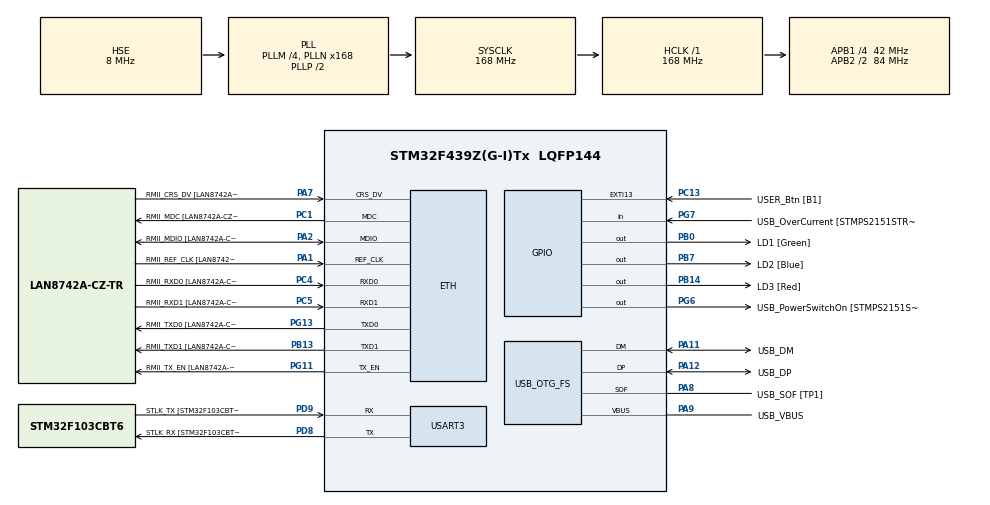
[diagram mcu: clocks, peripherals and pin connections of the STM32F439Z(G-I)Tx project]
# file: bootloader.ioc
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ETH.MediaInterface=HAL_ETH_RMII_MODE
ETH.PHY_Name=LAN8742A_PHY_ADDRESS
ETH.PHY_Value=0
ETH.PhyAddress=0
Mcu.Family=STM32F4
Mcu.Name=STM32F439Z(G-I)Tx
Mcu.Package=LQFP144
NVIC.PriorityGroup=NVIC_PRIORITYGROUP_4
PA1.GPIO_Label=RMII_REF_CLK [LAN8742A-CZ-TR_REFCLK0]
PA1.Mode=RMII
PA1.Signal=ETH_REF_CLK
PA10.GPIO_Label=USB_ID
PA10.Signal=USB_OTG_FS_ID
PA11.GPIO_Label=USB_DM
PA11.Mode=Device_Only
PA11.Signal=USB_OTG_FS_DM
PA12.GPIO_Label=USB_DP
PA12.Mode=Device_Only
PA12.Signal=USB_OTG_FS_DP
PA13.GPIO_Label=TMS
PA13.Mode=Serial_Wire
PA13.Signal=SYS_JTMS-SWDIO
PA14.GPIO_Label=TCK
PA14.Mode=Serial_Wire
PA14.Signal=SYS_JTCK-SWCLK
PA2.GPIO_Label=RMII_MDIO [LAN8742A-CZ-TR_MDIO]
PA2.Mode=RMII
PA2.Signal=ETH_MDIO
PA7.GPIO_Label=RMII_CRS_DV [LAN8742A-CZ-TR_CRS_DV]
PA7.Mode=RMII
PA7.Signal=ETH_CRS_DV
PA8.GPIO_Label=USB_SOF [TP1]
PA8.Mode=Activate_SOF_FS
PA8.Signal=USB_OTG_FS_SOF
PA9.GPIO_Label=USB_VBUS
PA9.Mode=Activate_VBUS
PA9.Signal=USB_OTG_FS_VBUS
PB0.GPIO_Label=LD1 [Green]
PB0.Signal=GPIO_Output
PB13.GPIO_Label=RMII_TXD1 [LAN8742A-CZ-TR_TXD1]
PB13.Mode=RMII
PB13.Signal=ETH_TXD1
PB14.GPIO_Label=LD3 [Red]
PB14.Signal=GPIO_Output
PB7.GPIO_Label=LD2 [Blue]
PB7.Signal=GPIO_Output
PC1.GPIO_Label=RMII_MDC [LAN8742A-CZ-TR_MDC]
PC1.Mode=RMII
PC1.Signal=ETH_MDC
PC13.GPIO_Label=USER_Btn [B1]
PC13.Signal=GPXTI13
PC14/OSC32_IN.Mode=LSE-External-Oscillator
PC14/OSC32_IN.Signal=RCC_OSC32_IN
PC15/OSC32_OUT.Mode=LSE-External-Oscillator
PC15/OSC32_OUT.Signal=RCC_OSC32_OUT
PC4.GPIO_Label=RMII_RXD0 [LAN8742A-CZ-TR_RXD0]
PC4.Mode=RMII
PC4.Signal=ETH_RXD0
PC5.GPIO_Label=RMII_RXD1 [LAN8742A-CZ-TR_RXD1]
PC5.Mode=RMII
PC5.Signal=ETH_RXD1
PD8.GPIO_Label=STLK_RX [STM32F103CBT6_PA3]
PD8.Mode=Asynchronous
PD8.Signal=USART3_TX
PD9.GPIO_Label=STLK_TX [STM32F103CBT6_PA2]
PD9.Mode=Asynchronous
PD9.Signal=USART3_RX
PG11.GPIO_Label=RMII_TX_EN [LAN8742A-CZ-TR_TXEN]
PG11.Mode=RMII
PG11.Signal=ETH_TX_EN
PG13.GPIO_Label=RMII_TXD0 [LAN8742A-CZ-TR_TXD0]
PG13.Mode=RMII
PG13.Signal=ETH_TXD0
PG6.GPIO_Label=USB_PowerSwitchOn [STMPS2151STR_EN]
PG6.Signal=GPIO_Output
PG7.GPIO_Label=USB_OverCurrent [STMPS2151STR_FAULT]
PG7.Signal=GPIO_Input
PH0/OSC_IN.GPIO_Label=MCO [STM32F103CBT6_PA8]
PH0/OSC_IN.Mode=HSE-External-Clock-Source
PH0/OSC_IN.Signal=RCC_OSC_IN
PH1/OSC_OUT.Mode=HSE-External-Clock-Source
PH1/OSC_OUT.Signal=RCC_OSC_OUT
ProjectManager.HeapSize=0x200
ProjectManager.StackSize=0x400
ProjectManager.TargetToolchain=STM32CubeIDE
RCC.48MHZClocksFreq_Value=48000000
RCC.AHBFreq_Value=168000000
RCC.APB1CLKDivider=RCC_HCLK_DIV4
RCC.APB1Freq_Value=42000000
RCC.APB1TimFreq_Value=84000000
RCC.APB2CLKDivider=RCC_HCLK_DIV2
RCC.APB2Freq_Value=84000000
RCC.APB2TimCLKDivider=2
RCC.APB2TimFreq_Value=168000000
RCC.CortexFreq_Value=168000000
RCC.HCLKFreq_Value=168000000
RCC.HSE_VALUE=8000000
RCC.HSI_VALUE=16000000
RCC.PLLM=4
RCC.PLLMUL=RCC_PLL_MUL9
RCC.PLLN=168
RCC.PLLQ=7
RCC.PRESCALERUSB=RCC_USBCLKSOURCE_PLL_DIV1_5
RCC.SYSCLKFreq_VALUE=168000000
RCC.SYSCLKSource=RCC_SYSCLKSOURCE_PLLCLK
RCC.SYSCLKSourceVirtual=RCC_SYSCLKSOURCE_PLLCLK
RCC.USBFreq_Value=48000000
RCC.VCOOutputFreq_Value=336000000
USART3.VirtualMode=VM_ASYNC
USB_OTG_FS.VirtualMode=Device_Only
board=NUCLEO-F439ZI

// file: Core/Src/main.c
/* USER CODE BEGIN Header */
/**
  ******************************************************************************
  * @file           : main.c
  * @brief          : Main program body
  ******************************************************************************
  * @attention
  *
  * Copyright (c) 2026 STMicroelectronics.
  * All rights reserved.
  *
  * This software is licensed under terms that can be found in the LICENSE file
  * in the root directory of this software component.
  * If no LICENSE file comes with this software, it is provided AS-IS.
  *
  ******************************************************************************
  */
/* USER CODE END Header */
#include "main.h"
#include "string.h"

/* USER CODE BEGIN Includes */
#include <stdio.h>
#include <tinycrypt/sha256.h>
#include <tinycrypt/constants.h>
#include "image_parser.h"
#include "image_verify.h"
/* USER CODE END Includes */

/* USER CODE BEGIN PD */
#define SLOT_A_ADDR (0x08040000U)
#define SLOT_B_ADDR (0x080C0000U)
#define HEADER_SIZE (0x200U)

#define TLV_INFO_MAGIC 0x6907U
#define TLV_TYPE_SHA256 0x0010U

#define TLV_TYPE_KEYHASH      0x0001U
#define TLV_TYPE_RSA2048_PSS  0x0020U
#define TLV_TYPE_ECDSA224     0x0021U
#define TLV_TYPE_ECDSA256     0x0022U
#define TLV_TYPE_RSA3072_PSS  0x0023U
#define TLV_TYPE_ED25519      0x0024U
/* USER CODE END PD */

/* USER CODE BEGIN PM */
typedef void (*pFunction)(void);
/* USER CODE END PM */

ETH_TxPacketConfig TxConfig;
ETH_DMADescTypeDef  DMARxDscrTab[ETH_RX_DESC_CNT]; /* Ethernet Rx DMA Descriptors */
ETH_DMADescTypeDef  DMATxDscrTab[ETH_TX_DESC_CNT]; /* Ethernet Tx DMA Descriptors */

ETH_HandleTypeDef heth;

UART_HandleTypeDef huart3;

PCD_HandleTypeDef hpcd_USB_OTG_FS;

/* USER CODE BEGIN PV */
static const uint8_t g_pubkey_der[] = {
    0x30, 0x59, 0x30, 0x13, 0x06, 0x07, 0x2a, 0x86,
    0x48, 0xce, 0x3d, 0x02, 0x01, 0x06, 0x08, 0x2a,
    0x86, 0x48, 0xce, 0x3d, 0x03, 0x01, 0x07, 0x03,
    0x42, 0x00, 0x04, 0x32, 0x83, 0x45, 0xcc, 0x2e,
    0xc4, 0xb1, 0xab, 0x14, 0x95, 0x67, 0xc7, 0x84,
    0xc3, 0x20, 0xbc, 0x0a, 0x22, 0x44, 0xa2, 0xff,
    0xed, 0xf8, 0xd2, 0x8d, 0xee, 0x87, 0x88, 0x76,
    0x35, 0x75, 0x9e, 0x17, 0x6b, 0x2e, 0xb4, 0xcd,
    0xa9, 0xba, 0x53, 0x40, 0x3e, 0x42, 0x7d, 0x39,
    0xf4, 0x4d, 0x1f, 0xb0, 0x97, 0xb3, 0x56, 0x1b,
    0x9f, 0xc7, 0x6e, 0x64, 0xb5, 0x4a, 0xe7, 0x2f,
    0xcd, 0x4c, 0x25,
};
/* USER CODE END PV */

void SystemClock_Config(void);
static void MX_GPIO_Init(void);
static void MX_ETH_Init(void);
static void MX_USART3_UART_Init(void);
static void MX_USB_OTG_FS_PCD_Init(void);
/* USER CODE BEGIN PFP */
void bootimg(uint32_t img_addr);
/* USER CODE END PFP */

/* USER CODE BEGIN 0 */
int __io_putchar(int ch)
{
    /* Place your implementation of fputc here */
    /* e.g. write a character to the USART3 and Loop until the end of transmission */
    HAL_UART_Transmit(&huart3, (uint8_t *)&ch, 1, 0xFFFF);

    return ch;
}

static void print_hex(const uint8_t *buf, size_t len)
{
    for (size_t i = 0; i < len; i++) {
        printf("%02x", buf[i]);
    }
    printf("\r\n");
}

//void test_sha256_abc(void)
//{
//    const uint8_t msg[] = "abc";
//    uint8_t digest[TC_SHA256_DIGEST_SIZE];
//    struct tc_sha256_state_struct s;
//
//    int ret;
//
//    ret = tc_sha256_init(&s);
//    if (ret != TC_CRYPTO_SUCCESS) {
//        printf("tc_sha256_init failed\r\n");
//        return;
//    }
//
//    ret = tc_sha256_update(&s, msg, strlen((const char *)msg));
//    if (ret != TC_CRYPTO_SUCCESS) {
//        printf("tc_sha256_update failed\r\n");
//        return;
//    }
//
//    ret = tc_sha256_final(digest, &s);
//    if (ret != TC_CRYPTO_SUCCESS) {
//        printf("tc_sha256_final failed\r\n");
//        return;
//    }
//
//    printf("SHA256(\"abc\") = ");
//    print_hex(digest, sizeof(digest));
//}

static void PrintSlotBHeader(void)
{
    const image_header_t *hdr = (const image_header_t *)SLOT_B_ADDR;

    printf("=== Slot B image header @ 0x%08lX ===\r\n", (unsigned long)SLOT_B_ADDR);
    printf("magic:              0x%08lX\r\n", (unsigned long)hdr->ih_magic);
    printf("load_addr:          0x%08lX\r\n", (unsigned long)hdr->ih_load_addr);
    printf("hdr_size:           0x%04X\r\n",  (unsigned)hdr->ih_hdr_size);
    printf("protected_tlv_size: 0x%04X\r\n",  (unsigned)hdr->ih_protect_tlv_size);
    printf("img_size:           0x%08lX\r\n", (unsigned long)hdr->ih_img_size);
    printf("flags:              0x%08lX\r\n", (unsigned long)hdr->ih_flags);
    printf("version:            %u.%u.%u+%lu\r\n",
           (unsigned)hdr->iv_major,
           (unsigned)hdr->iv_minor,
           (unsigned)hdr->iv_revision,
           (unsigned long)hdr->iv_build_num);

    if (hdr->ih_magic != IMAGE_MAGIC) {
        printf("Header magic NG\r\n");
        return;
    }

    uint32_t vector = SLOT_B_ADDR + (uint32_t)hdr->ih_hdr_size;
    uint32_t msp    = *(__IO uint32_t *)vector;
    uint32_t rh     = *(__IO uint32_t *)(vector + 4U);

    printf("vector_addr:         0x%08lX\r\n", (unsigned long)vector);
    printf("vector[0] MSP:       0x%08lX\r\n", (unsigned long)msp);
    printf("vector[1] ResetHdlr: 0x%08lX\r\n", (unsigned long)rh);

}

static void VerifySlotBHash(void)
{
    const image_header_t *hdr = (const image_header_t *)SLOT_B_ADDR;

    if (hdr->ih_magic != IMAGE_MAGIC) {
        printf("Header magic NG\r\n");
        return;
    }

    uint32_t vector_addr = SLOT_B_ADDR + (uint32_t)hdr->ih_hdr_size;
    uint32_t tlv_start   = vector_addr + (uint32_t)hdr->ih_img_size;

    const image_tlv_info_t *info = (const image_tlv_info_t *)tlv_start;

    printf("=== Slot B TLV verify ===\r\n");
    printf("TLV start:            0x%08lX\r\n", (unsigned long)tlv_start);
    printf("TLV magic:            0x%04X\r\n", info->magic);
    printf("TLV total size:       0x%04X\r\n", info->tlv_tot);

    if (info->magic != TLV_INFO_MAGIC) {
        printf("TLV magic NG\r\n");
        return;
    }

    uint32_t tlv_end = tlv_start + info->tlv_tot;
    uint32_t p = tlv_start + sizeof(image_tlv_info_t);

    while (p + sizeof(image_tlv_t) <= tlv_end) {
        const image_tlv_t *tlv = (const image_tlv_t *)p;
        uint32_t value_addr = p + sizeof(image_tlv_t);

        printf("TLV type:             0x%04X\r\n", tlv->type);
        printf("TLV len:              0x%04X\r\n", tlv->len);

        if (value_addr + tlv->len > tlv_end) {
            printf("TLV range error\r\n");
            return;
        }

        if (tlv->type == TLV_TYPE_SHA256 && tlv->len == 32U) {
            uint8_t expected[32];
            uint8_t calculated[32];
            struct tc_sha256_state_struct s;

            memcpy(expected, (const void *)value_addr, sizeof(expected));

            printf("Expected SHA256:\r\n");
            print_hex(expected, sizeof(expected));

            uint32_t hash_start = SLOT_B_ADDR;
            uint32_t hash_len   = (uint32_t)hdr->ih_hdr_size + (uint32_t)hdr->ih_img_size;

            if (!tc_sha256_init(&s)) {
                printf("tc_sha256_init failed\r\n");
                return;
            }

            if (!tc_sha256_update(&s, (const uint8_t *)hash_start, hash_len)) {
                printf("tc_sha256_update failed\r\n");
                return;
            }

            if (!tc_sha256_final(calculated, &s)) {
                printf("tc_sha256_final failed\r\n");
                return;
            }

            printf("Calculated SHA256:\r\n");
            print_hex(calculated, sizeof(calculated));

            if (memcmp(expected, calculated, sizeof(expected)) == 0) {
                printf("HASH MATCH\r\n");
            } else {
                printf("HASH MISMATCH\r\n");
            }
            return;
        }

        p = value_addr + tlv->len;
    }

    printf("SHA256 TLV not found\r\n");
}

static void DumpSlotBTlvs(void)
{
    const image_header_t *hdr = (const image_header_t *)SLOT_B_ADDR;

    if (hdr->ih_magic != IMAGE_MAGIC) {
        printf("Header magic NG\r\n");
        return;
    }

    uint32_t vector_addr = SLOT_B_ADDR + (uint32_t)hdr->ih_hdr_size;
    uint32_t tlv_start   = vector_addr + (uint32_t)hdr->ih_img_size;
    const image_tlv_info_t *info = (const image_tlv_info_t *)tlv_start;

    printf("=== Slot B TLV dump ===\r\n");
    printf("TLV start:            0x%08lX\r\n", (unsigned long)tlv_start);
    printf("TLV magic:            0x%04X\r\n", info->magic);
    printf("TLV total size:       0x%04X\r\n", info->tlv_tot);

    if (info->magic != TLV_INFO_MAGIC) {
        printf("TLV magic NG\r\n");
        return;
    }

    uint32_t tlv_end = tlv_start + info->tlv_tot;
    uint32_t p = tlv_start + sizeof(image_tlv_info_t);

    while (p + sizeof(image_tlv_t) <= tlv_end) {
        const image_tlv_t *tlv = (const image_tlv_t *)p;
        uint32_t value_addr = p + sizeof(image_tlv_t);

        if (value_addr + tlv->len > tlv_end) {
            printf("TLV range error\r\n");
            return;
        }

        printf("TLV type:             0x%04X\r\n", tlv->type);
        printf("TLV len:              0x%04X\r\n", tlv->len);

        if (tlv->type == TLV_TYPE_KEYHASH) {
            printf("KEYHASH:\r\n");
            print_hex((const uint8_t *)value_addr, tlv->len);
        } else if (tlv->type == TLV_TYPE_SHA256) {
            printf("SHA256:\r\n");
            print_hex((const uint8_t *)value_addr, tlv->len);
        } else if (tlv->type == TLV_TYPE_ECDSA256) {
            printf("ECDSA256 signature:\r\n");
            print_hex((const uint8_t *)value_addr, tlv->len);
        }

        p = value_addr + tlv->len;
    }
}
/* USER CODE END 0 */

int main(void)
{

  /* MCU Configuration--------------------------------------------------------*/

  /* Reset of all peripherals, Initializes the Flash interface and the Systick. */
  HAL_Init();

  /* Configure the system clock */
  SystemClock_Config();

  /* Initialize all configured peripherals */
  MX_GPIO_Init();
  MX_ETH_Init();
  MX_USART3_UART_Init();
  MX_USB_OTG_FS_PCD_Init();
  /* USER CODE BEGIN 2 */
  printf("bootloader started!\r\n");

  image_layout_t img;

  if (image_get_layout(SLOT_B_ADDR, &img)) {
      image_dump_header(&img);
      image_dump_tlvs(&img);

      if (image_verify_hash(&img)) {
          printf("image_verify_hash: OK\r\n");
      } else {
          printf("image_verify_hash: NG\r\n");
      }

      if (image_verify_keyhash(&img, g_pubkey_der, sizeof(g_pubkey_der))) {
          printf("image_verify_keyhash: OK\r\n");
      } else {
          printf("image_verify_keyhash: NG\r\n");
      }

      if (image_verify_signature(&img, g_pubkey_der, sizeof(g_pubkey_der))) {
          printf("image_verify_signature: OK\r\n");
      } else {
          printf("image_verify_signature: NG\r\n");
      }
  } else {
      printf("Slot B image parse failed\r\n");
  }
//  PrintSlotBHeader();
//  VerifySlotBHash();
//  DumpSlotBTlvs();
  printf("Select number:\r\n");
  printf("1:Boot slot A\r\n");
  printf("2:Boot slot B\r\n");
  uint8_t ch;
  /* USER CODE END 2 */

  /* Infinite loop */
  /* USER CODE BEGIN WHILE */
  while (1)
  {
	    if (HAL_UART_Receive(&huart3, &ch, 1, 10) == HAL_OK)
	    {
	        if (ch == '1')
	        {
	            printf("Booting SLOT A\r\n");
	            bootimg(SLOT_A_ADDR);
	        }
	        else if (ch == '2')
	        {
	            printf("Booting SLOT B\r\n");
	            bootimg(SLOT_B_ADDR + HEADER_SIZE);
	        }
	        else
	        {
	            printf("Invalid key\r\n");
	        }
	    }
    /* USER CODE END WHILE */

  }
}

void SystemClock_Config(void)
{
  RCC_OscInitTypeDef RCC_OscInitStruct = {0};
  RCC_ClkInitTypeDef RCC_ClkInitStruct = {0};

  /** Configure the main internal regulator output voltage
  */
  __HAL_RCC_PWR_CLK_ENABLE();
  __HAL_PWR_VOLTAGESCALING_CONFIG(PWR_REGULATOR_VOLTAGE_SCALE1);

  /** Initializes the RCC Oscillators according to the specified parameters
  * in the RCC_OscInitTypeDef structure.
  */
  RCC_OscInitStruct.OscillatorType = RCC_OSCILLATORTYPE_HSE;
  RCC_OscInitStruct.HSEState = RCC_HSE_BYPASS;
  RCC_OscInitStruct.PLL.PLLState = RCC_PLL_ON;
  RCC_OscInitStruct.PLL.PLLSource = RCC_PLLSOURCE_HSE;
  RCC_OscInitStruct.PLL.PLLM = 4;
  RCC_OscInitStruct.PLL.PLLN = 168;
  RCC_OscInitStruct.PLL.PLLP = RCC_PLLP_DIV2;
  RCC_OscInitStruct.PLL.PLLQ = 7;
  if (HAL_RCC_OscConfig(&RCC_OscInitStruct) != HAL_OK)
  {
    Error_Handler();
  }

  /** Initializes the CPU, AHB and APB buses clocks
  */
  RCC_ClkInitStruct.ClockType = RCC_CLOCKTYPE_HCLK|RCC_CLOCKTYPE_SYSCLK
                              |RCC_CLOCKTYPE_PCLK1|RCC_CLOCKTYPE_PCLK2;
  RCC_ClkInitStruct.SYSCLKSource = RCC_SYSCLKSOURCE_PLLCLK;
  RCC_ClkInitStruct.AHBCLKDivider = RCC_SYSCLK_DIV1;
  RCC_ClkInitStruct.APB1CLKDivider = RCC_HCLK_DIV4;
  RCC_ClkInitStruct.APB2CLKDivider = RCC_HCLK_DIV2;

  if (HAL_RCC_ClockConfig(&RCC_ClkInitStruct, FLASH_LATENCY_5) != HAL_OK)
  {
    Error_Handler();
  }
}

static void MX_ETH_Init(void)
{

   static uint8_t MACAddr[6];

  heth.Instance = ETH;
  MACAddr[0] = 0x00;
  MACAddr[1] = 0x80;
  MACAddr[2] = 0xE1;
  MACAddr[3] = 0x00;
  MACAddr[4] = 0x00;
  MACAddr[5] = 0x00;
  heth.Init.MACAddr = &MACAddr[0];
  heth.Init.MediaInterface = HAL_ETH_RMII_MODE;
  heth.Init.TxDesc = DMATxDscrTab;
  heth.Init.RxDesc = DMARxDscrTab;
  heth.Init.RxBuffLen = 1524;

  if (HAL_ETH_Init(&heth) != HAL_OK)
  {
    Error_Handler();
  }

  memset(&TxConfig, 0 , sizeof(ETH_TxPacketConfig));
  TxConfig.Attributes = ETH_TX_PACKETS_FEATURES_CSUM | ETH_TX_PACKETS_FEATURES_CRCPAD;
  TxConfig.ChecksumCtrl = ETH_CHECKSUM_IPHDR_PAYLOAD_INSERT_PHDR_CALC;
  TxConfig.CRCPadCtrl = ETH_CRC_PAD_INSERT;

}

static void MX_USART3_UART_Init(void)
{

  huart3.Instance = USART3;
  huart3.Init.BaudRate = 115200;
  huart3.Init.WordLength = UART_WORDLENGTH_8B;
  huart3.Init.StopBits = UART_STOPBITS_1;
  huart3.Init.Parity = UART_PARITY_NONE;
  huart3.Init.Mode = UART_MODE_TX_RX;
  huart3.Init.HwFlowCtl = UART_HWCONTROL_NONE;
  huart3.Init.OverSampling = UART_OVERSAMPLING_16;
  if (HAL_UART_Init(&huart3) != HAL_OK)
  {
    Error_Handler();
  }

}

static void MX_USB_OTG_FS_PCD_Init(void)
{

  hpcd_USB_OTG_FS.Instance = USB_OTG_FS;
  hpcd_USB_OTG_FS.Init.dev_endpoints = 4;
  hpcd_USB_OTG_FS.Init.speed = PCD_SPEED_FULL;
  hpcd_USB_OTG_FS.Init.dma_enable = DISABLE;
  hpcd_USB_OTG_FS.Init.phy_itface = PCD_PHY_EMBEDDED;
  hpcd_USB_OTG_FS.Init.Sof_enable = ENABLE;
  hpcd_USB_OTG_FS.Init.low_power_enable = DISABLE;
  hpcd_USB_OTG_FS.Init.lpm_enable = DISABLE;
  hpcd_USB_OTG_FS.Init.vbus_sensing_enable = ENABLE;
  hpcd_USB_OTG_FS.Init.use_dedicated_ep1 = DISABLE;
  if (HAL_PCD_Init(&hpcd_USB_OTG_FS) != HAL_OK)
  {
    Error_Handler();
  }

}

static void MX_GPIO_Init(void)
{
  GPIO_InitTypeDef GPIO_InitStruct = {0};

  /* GPIO Ports Clock Enable */
  __HAL_RCC_GPIOC_CLK_ENABLE();
  __HAL_RCC_GPIOH_CLK_ENABLE();
  __HAL_RCC_GPIOA_CLK_ENABLE();
  __HAL_RCC_GPIOB_CLK_ENABLE();
  __HAL_RCC_GPIOD_CLK_ENABLE();
  __HAL_RCC_GPIOG_CLK_ENABLE();

  /*Configure GPIO pin Output Level */
  HAL_GPIO_WritePin(GPIOB, LD1_Pin|LD3_Pin|LD2_Pin, GPIO_PIN_RESET);

  /*Configure GPIO pin Output Level */
  HAL_GPIO_WritePin(USB_PowerSwitchOn_GPIO_Port, USB_PowerSwitchOn_Pin, GPIO_PIN_RESET);

  /*Configure GPIO pin : USER_Btn_Pin */
  GPIO_InitStruct.Pin = USER_Btn_Pin;
  GPIO_InitStruct.Mode = GPIO_MODE_IT_RISING;
  GPIO_InitStruct.Pull = GPIO_NOPULL;
  HAL_GPIO_Init(USER_Btn_GPIO_Port, &GPIO_InitStruct);

  /*Configure GPIO pins : LD1_Pin LD3_Pin LD2_Pin */
  GPIO_InitStruct.Pin = LD1_Pin|LD3_Pin|LD2_Pin;
  GPIO_InitStruct.Mode = GPIO_MODE_OUTPUT_PP;
  GPIO_InitStruct.Pull = GPIO_NOPULL;
  GPIO_InitStruct.Speed = GPIO_SPEED_FREQ_LOW;
  HAL_GPIO_Init(GPIOB, &GPIO_InitStruct);

  /*Configure GPIO pin : USB_PowerSwitchOn_Pin */
  GPIO_InitStruct.Pin = USB_PowerSwitchOn_Pin;
  GPIO_InitStruct.Mode = GPIO_MODE_OUTPUT_PP;
  GPIO_InitStruct.Pull = GPIO_NOPULL;
  GPIO_InitStruct.Speed = GPIO_SPEED_FREQ_LOW;
  HAL_GPIO_Init(USB_PowerSwitchOn_GPIO_Port, &GPIO_InitStruct);

  /*Configure GPIO pin : USB_OverCurrent_Pin */
  GPIO_InitStruct.Pin = USB_OverCurrent_Pin;
  GPIO_InitStruct.Mode = GPIO_MODE_INPUT;
  GPIO_InitStruct.Pull = GPIO_NOPULL;
  HAL_GPIO_Init(USB_OverCurrent_GPIO_Port, &GPIO_InitStruct);

}

/* USER CODE BEGIN 4 */
void bootimg(uint32_t img_addr)
{
	pFunction JumpToImg;
	printf("jumping to 0x%08lX...\r\n", img_addr);

	SCB->VTOR = img_addr;
	__set_MSP(*(uint32_t*)img_addr);

	JumpToImg = (pFunction)(*(uint32_t*)(img_addr + 4));

	JumpToImg();
}
/* USER CODE END 4 */

void Error_Handler(void)
{
  __disable_irq();
  while (1)
  {
  }
}
